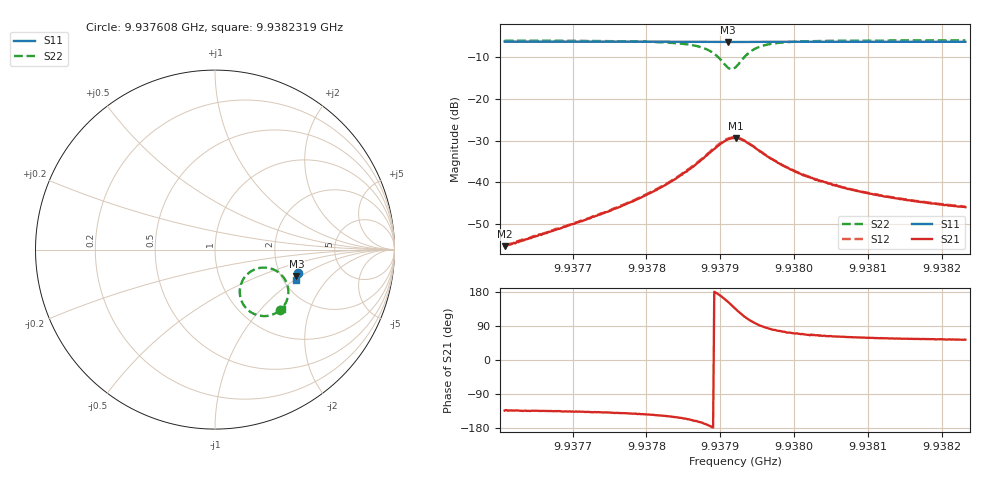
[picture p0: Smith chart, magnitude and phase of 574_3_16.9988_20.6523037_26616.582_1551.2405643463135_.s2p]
#  HZ  S  RI  R  50.00
! Rohde & Schwarz Vector Network Analyzer
! Rohde-Schwarz,ZNB20-2Port,1311601062101988,3.16
! Created: UTC 3/20/2024, 11:17:51 PM
! freq[Hz]  re:S11  im:S11  re:S21  im:S21  re:S12  im:S12  re:S22  im:S22
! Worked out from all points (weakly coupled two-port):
!   401 points, 9.937608 GHz to 9.9382319 GHz, reference 50 ohm
!   highest |S21| = -29.41 dB at 9.9379215 GHz (marker M1); lowest = -55.3 dB at 9.937608 GHz (marker M2)
!   lowest |S11| = -6.4 dB at 9.9379106 GHz (marker M3), VSWR 2.82, Z = 121 - j46 ohm
!   |S11| at or under -10 dB: nowhere
!   |S22| runs from -12.9 to -6.1 dB; largest |S21 - S12| = 0.0017
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9.93760804e9  0.4648 -0.1286  -0.00119 -0.00125  -0.00121 -0.00126  0.3614 -0.3386
9.93771254e9  0.4622 -0.1356  -0.00248 -0.00237  -0.00256 -0.00236  0.3442 -0.3505
9.93776245e9  0.4608 -0.1392  -0.00385 -0.00325  -0.00398 -0.00326  0.3298 -0.3582
9.93781704e9  0.4593 -0.1429  -0.00702 -0.00471  -0.00725 -0.00468  0.2999 -0.368
9.93784823e9  0.4581 -0.145  -0.011 -0.00555  -0.0115 -0.00554  0.2647 -0.37
9.93787787e9  0.4565 -0.147  -0.0191 -0.00412  -0.0198 -0.00394  0.2001 -0.3491
9.93789346e9  0.4551 -0.1476  -0.0257 0.000661  -0.0265 0.00144  0.1539 -0.2992
9.93790282e9  0.4541 -0.1475  -0.029 0.00733  -0.0295 0.00837  0.1381 -0.2417
9.93791062e9  0.4537 -0.1471  -0.0292 0.0146  -0.0294 0.0163  0.1491 -0.1818
9.9379153e9  0.4538 -0.1469  -0.0274 0.0195  -0.0274 0.0207  0.1699 -0.1479
9.93791998e9  0.454 -0.1467  -0.0243 0.0235  -0.024 0.0248  0.2006 -0.1211
9.93792154e9  0.454 -0.1465  -0.0233 0.0246  -0.0227 0.026  0.2122 -0.1147
9.93792934e9  0.4547 -0.1463  -0.0162 0.0279  -0.0154 0.0291  0.2732 -0.1002
9.93793869e9  0.4552 -0.1467  -0.00832 0.0279  -0.00738 0.0284  0.3345 -0.1148
9.93794649e9  0.4558 -0.1475  -0.0034 0.026  -0.00281 0.0261  0.368 -0.1385
9.93795585e9  0.4561 -0.1484  0.000168 0.023  0.00091 0.0231  0.3909 -0.1685
9.93797145e9  0.4561 -0.1499  0.00338 0.0184  0.00368 0.0183  0.4059 -0.2091
9.93799328e9  0.4558 -0.1517  0.00443 0.0139  0.00462 0.0139  0.4084 -0.2462
9.93802448e9  0.4552 -0.1541  0.00467 0.0103  0.00484 0.0102  0.4024 -0.2765
9.93806971e9  0.454 -0.1574  0.00415 0.00745  0.00434 0.00742  0.3929 -0.2996
9.93812898e9  0.4524 -0.1614  0.00361 0.00555  0.00375 0.00558  0.3831 -0.316
9.93823192e9  0.4495 -0.1682  0.003 0.00406  0.00315 0.00406  0.3707 -0.3317
